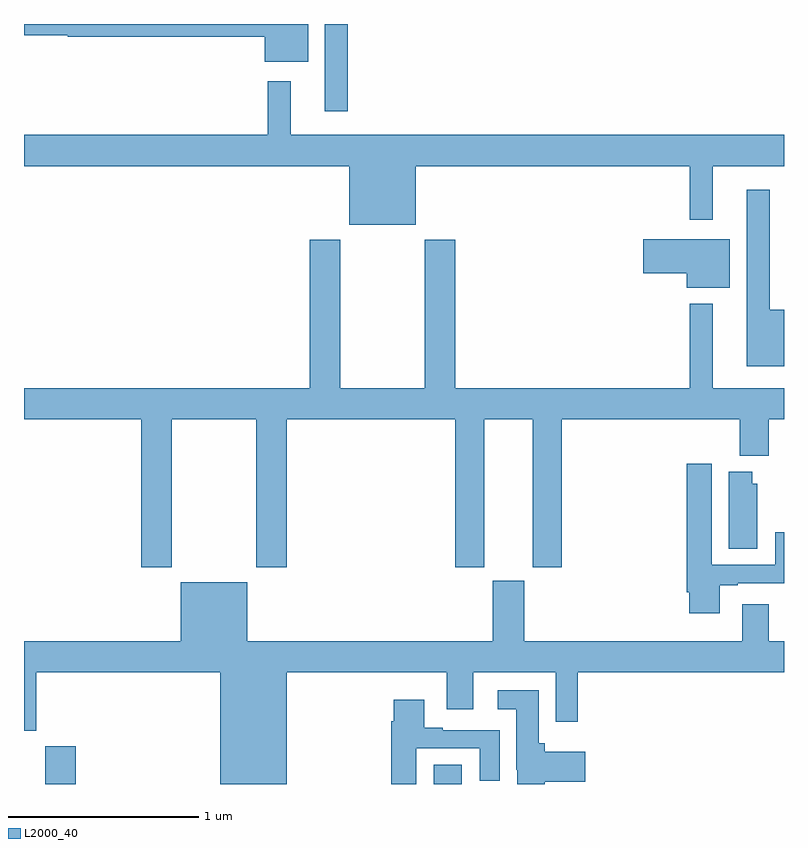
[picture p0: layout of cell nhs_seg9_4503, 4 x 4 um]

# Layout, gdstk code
import gdstk
lib = gdstk.Library(unit=1e-6, precision=1e-09)
def R(c, l, rs):  # rectangles x0, y0, x1, y1
    for r in rs: c.add(gdstk.rectangle(r[:2], r[2:], *l))
def P(c, l, *ps):  # polygons
    for p in ps: c.add(gdstk.Polygon(p, *l))
L2000_40 = (2000, 40)

nhs_seg9_4503 = lib.new_cell('nhs_seg9_4503')
R(nhs_seg9_4503, L2000_40, [(369.112,1194.5,369.272,1194.7), (371.156,1194.5,371.305,1194.602), (370.583,1198.041,370.705,1198.5)])
P(nhs_seg9_4503, L2000_40, [(370.495,1198.5),(369,1198.5),(369,1198.44),(369.229,1198.44),(369.229,1198.432),(370.268,1198.432),(370.268,1198.301),(370.495,1198.301)],
  [(371.062,1197.752),(372.504,1197.752),(372.504,1197.471),(372.625,1197.471),(372.625,1197.752),(373,1197.752),(373,1197.916),(370.405,1197.916),(370.405,1198.198),(370.284,1198.198),(370.284,1197.916),(369,1197.916),(369,1197.752),(370.712,1197.752),(370.712,1197.443),(371.062,1197.443)],
  [(373,1196.995),(372.925,1196.995),(372.925,1197.628),(372.803,1197.628),(372.803,1196.699),(373,1196.699)],
  [(372.715,1197.367),(372.258,1197.367),(372.258,1197.188),(372.488,1197.188),(372.488,1197.113),(372.715,1197.113)],
  [(369.777,1196.42),(370.222,1196.42),(370.222,1195.641),(370.382,1195.641),(370.382,1196.42),(371.27,1196.42),(371.27,1195.641),(371.422,1195.641),(371.422,1196.42),(371.678,1196.42),(371.678,1195.641),(371.831,1195.641),(371.831,1196.42),(372.767,1196.42),(372.767,1196.228),(372.919,1196.228),(372.919,1196.42),(373,1196.42),(373,1196.584),(372.625,1196.584),(372.625,1197.028),(372.504,1197.028),(372.504,1196.584),(371.27,1196.584),(371.27,1197.364),(371.11,1197.364),(371.11,1196.584),(370.665,1196.584),(370.665,1197.364),(370.505,1197.364),(370.505,1196.584),(369,1196.584),(369,1196.42),(369.617,1196.42),(369.617,1195.641),(369.777,1195.641)],
  [(372.661,1195.545),(372.757,1195.545),(372.757,1195.557),(373,1195.557),(373,1195.825),(372.953,1195.825),(372.953,1195.653),(372.619,1195.653),(372.619,1196.185),(372.488,1196.185),(372.488,1195.51),(372.5,1195.51),(372.5,1195.398),(372.661,1195.398)],
  [(372.859,1196.079),(372.832,1196.079),(372.832,1196.143),(372.71,1196.143),(372.71,1195.738),(372.859,1195.738)],
  [(372.779,1195.447),(372.779,1195.252),(371.632,1195.252),(371.632,1195.569),(371.468,1195.569),(371.468,1195.252),(370.174,1195.252),(370.174,1195.561),(369.824,1195.561),(369.824,1195.252),(369,1195.252),(369,1194.779),(369.064,1194.779),(369.064,1195.088),(370.034,1195.088),(370.034,1194.5),(370.384,1194.5),(370.384,1195.088),(371.225,1195.088),(371.225,1194.894),(371.365,1194.894),(371.365,1195.088),(371.799,1195.088),(371.799,1194.828),(371.915,1194.828),(371.915,1195.088),(373,1195.088),(373,1195.252),(372.919,1195.252),(372.919,1195.447)],
  [(371.741,1194.512),(371.953,1194.512),(371.953,1194.67),(371.741,1194.67),(371.741,1194.714),(371.71,1194.714),(371.71,1194.994),(371.493,1194.994),(371.493,1194.893),(371.591,1194.893),(371.591,1194.574),(371.595,1194.574),(371.595,1194.5),(371.741,1194.5)],
  [(371.065,1194.687),(371.399,1194.687),(371.399,1194.516),(371.503,1194.516),(371.503,1194.783),(371.203,1194.783),(371.203,1194.796),(371.107,1194.796),(371.107,1194.943),(370.946,1194.943),(370.946,1194.83),(370.934,1194.83),(370.934,1194.5),(371.065,1194.5)])

lib.write_gds('nhs_seg9_4503.gds')
